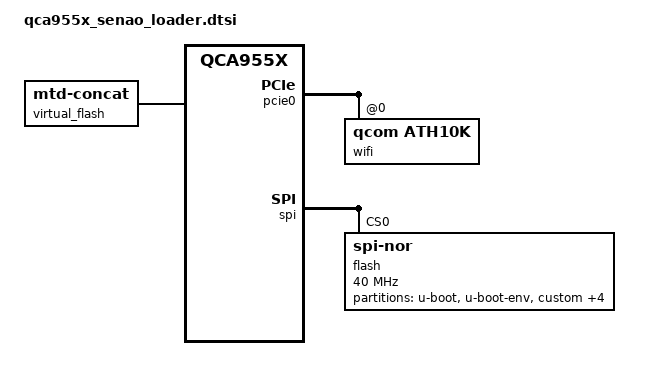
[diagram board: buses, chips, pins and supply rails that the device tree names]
// SPDX-License-Identifier: GPL-2.0-or-later OR MIT

#include "qca955x.dtsi"

#include <dt-bindings/mtd/partitions/uimage.h>

/ {
	virtual_flash {
		compatible = "mtd-concat";

		devices = <&fwconcat0 &fwconcat1>;

		partitions {
			compatible = "fixed-partitions";
			#address-cells = <1>;
			#size-cells = <1>;

			partition@0 {
				compatible = "openwrt,uimage", "denx,uimage";
				openwrt,ih-magic = <0x73714f4b>;
				label = "firmware";
				reg = <0x0 0x0>;
			};
		};
	};
};

&pcie0 {
	status = "okay";

	wifi@0,0,0 {
		compatible = "qcom,ath10k";
		reg = <0x0 0 0 0 0>;
	};
};

&spi {
	status = "okay";

	flash@0 {
		compatible = "jedec,spi-nor";
		reg = <0>;
		spi-max-frequency = <40000000>;

		partitions: partitions {
			compatible = "fixed-partitions";
			#address-cells = <1>;
			#size-cells = <1>;

			partition@0 {
				label = "u-boot";
				reg = <0x000000 0x040000>;
				read-only;
			};

			partition@40000 {
				label = "u-boot-env";
				reg = <0x040000 0x010000>;
			};

			partition@50000 {
				label = "custom";
				reg = <0x050000 0x050000>;
				read-only;
			};

			partition@a0000 {
				label = "loader";
				reg = <0x0a0000 0x010000>;
			};

			fwconcat1: partition@b0000 {
				label = "fwconcat1";
				reg = <0x0b0000 0x170000>;
			};

			fwconcat0: partition@220000 {
				label = "fwconcat0";
				reg = <0x220000 0xb50000>;
			};

			partition@d70000 {
				label = "failsafe";
				reg = <0xd70000 0x280000>;
				read-only;
			};

			/* additional partitions in device DTS files */
		};
	};
};
